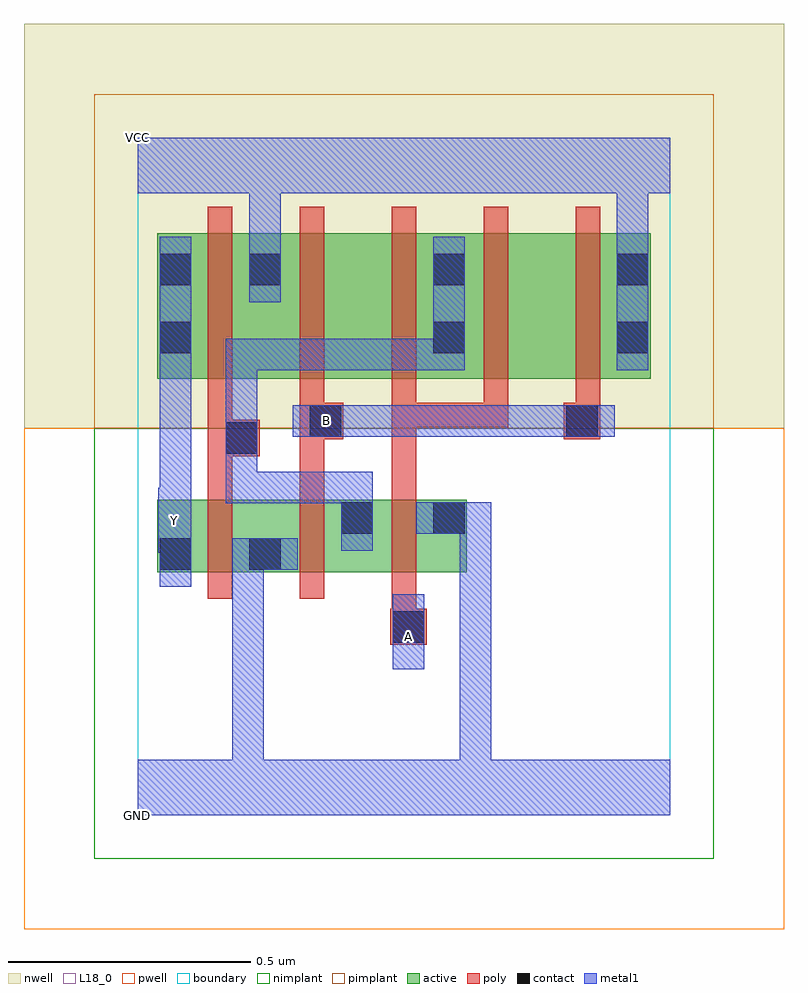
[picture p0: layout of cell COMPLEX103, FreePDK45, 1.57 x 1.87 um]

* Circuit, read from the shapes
.subckt COMPLEX103 A B GND VCC Y
M1 GND n1 Y VSUBS nfet w=0.15u l=0.05u
M2 n1 B GND VSUBS nfet w=0.15u l=0.05u
M3 GND A n1 VSUBS nfet w=0.15u l=0.05u
M4 VCC n1 Y n2 pfet w=0.3u l=0.05u
M5 n3 B VCC n2 pfet w=0.3u l=0.05u
M6 n1 A n3 n2 pfet w=0.3u l=0.05u
M7 n4 A n1 n2 pfet w=0.3u l=0.05u
M8 VCC B n4 n2 pfet w=0.3u l=0.05u
.ends

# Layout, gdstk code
import gdstk
lib = gdstk.Library(unit=1e-6, precision=1e-09)
def R(c, l, rs):  # rectangles x0, y0, x1, y1
    for r in rs: c.add(gdstk.rectangle(r[:2], r[2:], *l))
def A(c, l, x, y, w, h, nx, ny, dx, dy):  # array of equal rectangles
    R(c, l, [(x+i*dx, y+j*dy, x+i*dx+w, y+j*dy+h) for i in range(nx) for j in range(ny)])
active = (1, 0)
pwell = (2, 0)
nwell = (3, 0)
nimplant = (4, 0)
pimplant = (5, 0)
poly = (9, 0)
contact = (10, 0)
metal1 = (11, 0)
L18_0 = (18, 0)
boundary = (235, 0)

complex103 = lib.new_cell('COMPLEX103')
R(complex103, active, [(0.04,0.502,0.115,0.652), (0.04,0.502,0.3,0.652), (0.225,0.502,0.49,0.652), (0.225,0.502,0.3,0.577), (0.415,0.502,0.49,0.652), (0.415,0.502,0.68,0.652), (0.605,0.502,0.68,0.652), (0.04,0.902,0.115,1.165), (0.04,0.902,0.3,1.202), (0.225,0.902,0.3,1.202), (0.225,0.902,0.455,1.202), (0.455,0.902,0.68,1.202), (0.605,0.902,0.835,1.202), (0.605,0.902,0.68,1.165), (0.835,0.902,1.06,1.202), (0.985,0.902,1.06,1.202)])
R(complex103, pwell, [(-0.235,-0.235,1.335,0.8)])
R(complex103, nwell, [(-0.235,0.8,1.335,1.635)])
R(complex103, nimplant, [(-0.09,-0.09,1.19,0.8)])
R(complex103, pimplant, [(-0.09,0.8,1.19,1.49)])
A(complex103, poly, 0.145, 0.447, 0.05, 0.26, 3, 1, 0.19, 0)
A(complex103, poly, 0.335, 0.802, 0.05, 0.095, 4, 1, 0.19, 0)
A(complex103, poly, 0.145, 0.847, 0.05, 0.41, 5, 1, 0.19, 0)
R(complex103, poly, [(0.522,0.352,0.597,0.427), (0.525,0.377,0.575,0.497), (0.145,0.657,0.195,0.792), (0.335,0.657,0.385,0.827), (0.525,0.657,0.575,0.852), (0.145,0.742,0.252,0.817), (0.145,0.767,0.195,0.897), (0.335,0.777,0.425,0.852), (0.88,0.777,0.955,0.852), (0.525,0.802,0.765,0.852), (0.525,0.802,0.575,0.852), (0.525,0.802,0.575,0.852), (0.525,0.802,0.575,0.852), (0.715,0.802,0.765,0.852)])
A(complex103, contact, 0.23, 1.095, 0.065, 0.065, 3, 1, 0.38, 0)
R(complex103, contact, [(0.527,0.357,0.592,0.422), (0.045,0.507,0.11,0.572), (0.23,0.507,0.295,0.572), (0.42,0.582,0.485,0.647), (0.61,0.582,0.675,0.647), (0.182,0.747,0.247,0.812), (0.355,0.782,0.42,0.847), (0.885,0.782,0.95,0.847), (0.045,0.955,0.11,1.02), (0.61,0.955,0.675,1.02), (0.99,0.955,1.055,1.02), (0.045,1.095,0.11,1.16)])
R(complex103, metal1, [(0,0,1.1,0.115), (0.195,0.05,0.26,0.115), (0.195,0.05,0.26,0.115), (0.195,0.05,0.26,0.115), (0.195,0.05,0.26,0.115), (0.195,0.05,0.26,0.115), (0.195,0.05,0.26,0.115), (0.195,0.05,0.26,0.115), (0.195,0.05,0.26,0.115), (0.195,0.05,0.26,0.572), (0.665,0.05,0.73,0.647), (0.527,0.302,0.592,0.457), (0.045,0.472,0.11,0.607), (0.195,0.507,0.33,0.572), (0.042,0.542,0.11,0.677), (0.045,0.542,0.11,0.607), (0.42,0.547,0.485,0.71), (0.575,0.582,0.73,0.647), (0.665,0.582,0.73,0.647), (0.665,0.582,0.73,0.647), (0.665,0.582,0.73,0.647), (0.665,0.582,0.73,0.647), (0.665,0.582,0.73,0.647), (0.665,0.582,0.73,0.647), (0.665,0.582,0.73,0.647), (0.665,0.582,0.73,0.647), (0.045,0.612,0.11,0.985), (0.182,0.645,0.247,0.71), (0.182,0.645,0.455,0.71), (0.182,0.645,0.247,0.847), (0.39,0.645,0.455,0.71), (0.39,0.645,0.485,0.71), (0.182,0.712,0.247,0.847), (0.182,0.782,0.247,0.847), (0.182,0.782,0.247,0.847), (0.182,0.782,0.247,0.985), (0.32,0.782,0.457,0.847), (0.392,0.782,0.457,0.847), (0.392,0.782,0.457,0.847), (0.392,0.782,0.595,0.847), (0.53,0.782,0.595,0.847), (0.53,0.782,0.767,0.847), (0.702,0.782,0.767,0.847), (0.702,0.782,0.767,0.847), (0.702,0.782,0.767,0.847), (0.702,0.782,0.915,0.847), (0.85,0.782,0.915,0.847), (0.85,0.782,0.915,0.847), (0.85,0.782,0.985,0.847), (0.045,0.92,0.11,1.195), (0.182,0.92,0.247,0.985), (0.182,0.92,0.385,0.985), (0.32,0.92,0.385,0.985), (0.32,0.92,0.385,0.985), (0.32,0.92,0.385,0.985), (0.32,0.92,0.595,0.985), (0.53,0.92,0.595,0.985), (0.53,0.92,0.675,0.985), (0.61,0.92,0.675,1.195), (0.99,0.92,1.055,1.195), (0.23,1.06,0.295,1.195), (0.23,1.13,0.295,1.35), (0.99,1.13,1.055,1.195), (0.99,1.13,1.055,1.195), (0.99,1.13,1.055,1.35), (0,1.285,1.1,1.4), (0.23,1.285,0.295,1.35), (0.23,1.285,0.295,1.35)])
R(complex103, L18_0, [(0,0,1.1,0.115), (0.195,0.05,0.26,0.115), (0.195,0.05,0.26,0.115), (0.195,0.05,0.26,0.115), (0.195,0.05,0.26,0.115), (0.195,0.05,0.26,0.115), (0.195,0.05,0.26,0.115), (0.195,0.05,0.26,0.115), (0.195,0.05,0.26,0.115), (0.195,0.05,0.26,0.572), (0.665,0.05,0.73,0.647), (0.527,0.302,0.592,0.457), (0.527,0.337,0.592,0.402), (0.045,0.472,0.11,0.607), (0.195,0.507,0.33,0.572), (0.042,0.542,0.11,0.677), (0.045,0.542,0.11,0.607), (0.042,0.577,0.107,0.642), (0.575,0.582,0.73,0.647), (0.665,0.582,0.73,0.647), (0.665,0.582,0.73,0.647), (0.665,0.582,0.73,0.647), (0.665,0.582,0.73,0.647), (0.665,0.582,0.73,0.647), (0.665,0.582,0.73,0.647), (0.665,0.582,0.73,0.647), (0.665,0.582,0.73,0.647), (0.045,0.612,0.11,0.985), (0.32,0.782,0.457,0.847), (0.357,0.782,0.422,0.847), (0.392,0.782,0.457,0.847), (0.392,0.782,0.457,0.847), (0.392,0.782,0.595,0.847), (0.53,0.782,0.595,0.847), (0.53,0.782,0.767,0.847), (0.702,0.782,0.767,0.847), (0.702,0.782,0.767,0.847), (0.702,0.782,0.767,0.847), (0.702,0.782,0.915,0.847), (0.85,0.782,0.915,0.847), (0.85,0.782,0.915,0.847), (0.85,0.782,0.985,0.847), (0.045,0.92,0.11,1.195), (0.99,0.92,1.055,1.195), (0.23,1.06,0.295,1.195), (0.23,1.13,0.295,1.35), (0.99,1.13,1.055,1.195), (0.99,1.13,1.055,1.195), (0.99,1.13,1.055,1.35), (0,1.285,1.1,1.4), (0.23,1.285,0.295,1.35), (0.23,1.285,0.295,1.35)])
R(complex103, boundary, [(0,0,1.1,1.4)])
complex103.add(gdstk.Label('A', (0.56,0.37), layer=11, texttype=0))
complex103.add(gdstk.Label('B', (0.39,0.815), layer=11, texttype=0))
complex103.add(gdstk.Label('Y', (0.075,0.61), layer=11, texttype=0))
complex103.add(gdstk.Label('VCC', (0,1.4), layer=11, texttype=0))
complex103.add(gdstk.Label('GND', (0,0), layer=11, texttype=0))

lib.write_gds('COMPLEX103.gds')
